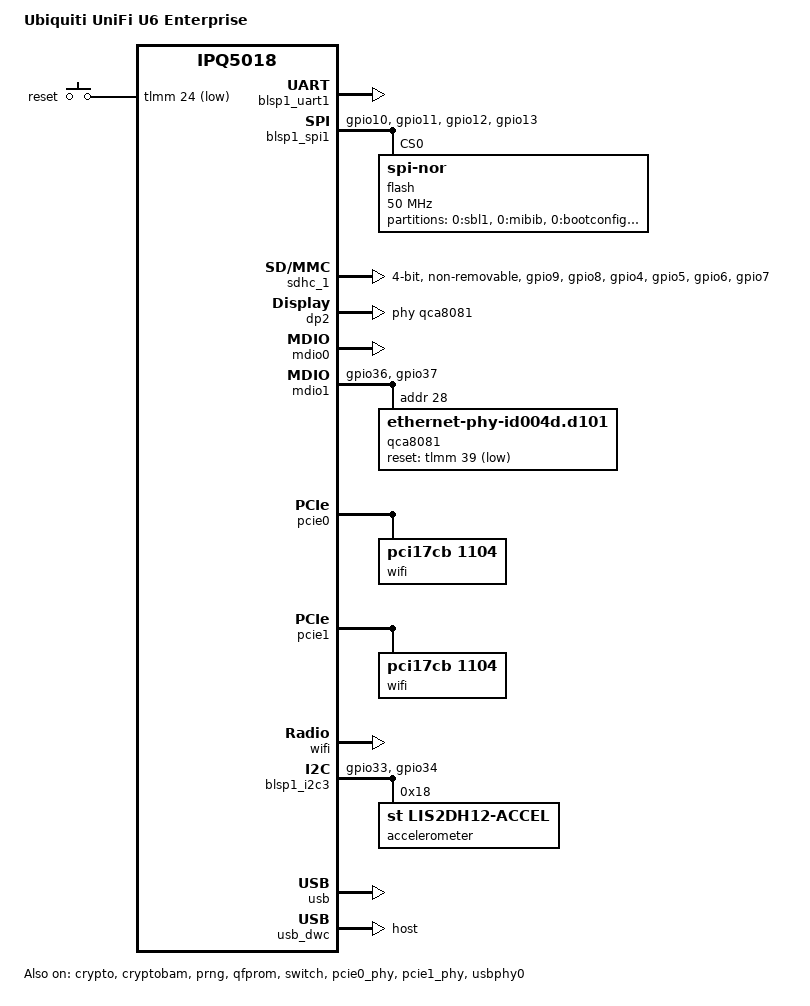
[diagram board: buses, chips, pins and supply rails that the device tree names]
// SPDX-License-Identifier: GPL-2.0-or-later OR MIT

/dts-v1/;

#include "ipq5018.dtsi"
#include "ipq5018-ess.dtsi"
#include "ipq5018-nss.dtsi"

#include <dt-bindings/gpio/gpio.h>
#include <dt-bindings/input/input.h>

/ {
	model = "Ubiquiti UniFi U6 Enterprise";
	compatible = "ubnt,u6-enterprise", "qcom,ipq5018";

	aliases {
		ethernet0 = &dp2;
		label-mac-device = &dp2;
		serial0 = &blsp1_uart1;
	};

	chosen {
		stdout-path = "serial0:115200n8";
	};

	keys {
		compatible = "gpio-keys";
		pinctrl-0 = <&button_pins>;
		pinctrl-names = "default";

		reset-button {
			label = "reset";
			gpios = <&tlmm 24 GPIO_ACTIVE_LOW>;
			linux,code = <KEY_RESTART>;
		};
	};
};

/* The stock QSEE uses 4 MiB here, twice the SoC default. */
&tz_region {
	reg = <0x0 0x4ac00000 0x0 0x400000>;
};

&sleep_clk {
	clock-frequency = <32000>;
};

&xo_board_clk {
	clock-div = <4>;
	clock-mult = <1>;
};

/* The bootloader muxes the console pins; GPIO33/34 are I2C on this board. */
&blsp1_uart1 {
	status = "okay";
};

&crypto {
	status = "okay";
};

&cryptobam {
	status = "okay";
};

&prng {
	status = "okay";
};

&qfprom {
	status = "okay";
};

&blsp1_spi1 {
	pinctrl-0 = <&spi_0_pins>;
	pinctrl-names = "default";
	status = "okay";

	flash@0 {
		compatible = "jedec,spi-nor";
		reg = <0>;
		spi-max-frequency = <50000000>;

		/* Read-only until the install flow is proven: this chip holds the boot chain. */
		partitions {
			compatible = "fixed-partitions";
			#address-cells = <1>;
			#size-cells = <1>;

			partition@0 {
				label = "0:sbl1";
				reg = <0x000000 0x030000>;
				read-only;
			};

			partition@30000 {
				label = "0:mibib";
				reg = <0x030000 0x010000>;
				read-only;
			};

			partition@40000 {
				label = "0:bootconfig";
				reg = <0x040000 0x010000>;
				read-only;
			};

			partition@50000 {
				label = "0:qsee";
				reg = <0x050000 0x0a0000>;
				read-only;
			};

			partition@f0000 {
				label = "0:devcfg";
				reg = <0x0f0000 0x010000>;
				read-only;
			};

			partition@100000 {
				label = "0:cdt";
				reg = <0x100000 0x010000>;
				read-only;
			};

			partition@110000 {
				label = "0:appsblenv";
				reg = <0x110000 0x010000>;
				read-only;
			};

			partition@120000 {
				label = "0:appsbl";
				reg = <0x120000 0x0a0000>;
				read-only;
			};

			partition@1c0000 {
				label = "0:art";
				reg = <0x1c0000 0x070000>;
				read-only;
			};

			partition@230000 {
				label = "eeprom";
				reg = <0x230000 0x010000>;
				read-only;

				nvmem-layout {
					compatible = "fixed-layout";
					#address-cells = <1>;
					#size-cells = <1>;

					macaddr_eeprom_0: macaddr@0 {
						reg = <0x0 0x6>;
					};
				};
			};
		};
	};
};

&sdhc_1 {
	pinctrl-0 = <&emmc_pins>;
	pinctrl-names = "default";
	bus-width = <4>;
	non-removable;
	no-sd;
	no-sdio;
	status = "okay";
};

/*
 * =================================================================
 *     _______________________
 *    |        IPQ5018        |
 *    | +------+   +--------+ |
 *    | | MAC0 |---| GE Phy |-+--- (unused)
 *    | +------+   +--------+ |
 *    | +------+   +--------+ |                 +---------+
 *    | | MAC1 |---| Uniphy |-+----- SGMII ------| QCA8081 |--- 2.5G PoE uplink
 *    | +------+   +--------+ |                 +---------+
 *    |_______________________|
 *
 * =================================================================
 */
&switch {
	status = "okay";
	switch_mac_mode = <MAC_MODE_SGMII_CHANNEL0>;

	qcom,port_phyinfo {
		port@1 {
			port_id = <1>;
			mdiobus = <&mdio0>;
			phy_address = <7>;
		};

		port@2 {
			port_id = <2>;
			mdiobus = <&mdio1>;
			phy_address = <28>;
			port_mac_sel = "QGMAC_PORT";
		};
	};
};

&dp2 {
	status = "okay";
	label = "lan";
	phy-handle = <&qca8081>;
	nvmem-cells = <&macaddr_eeprom_0>;
	nvmem-cell-names = "mac-address";
};

&mdio0 {
	status = "okay";
};

&mdio1 {
	status = "okay";
	pinctrl-0 = <&mdio1_pins>;
	pinctrl-names = "default";

	qca8081: ethernet-phy@28 {
		compatible = "ethernet-phy-id004d.d101";
		reg = <28>;
		reset-deassert-us = <10000>;
		reset-gpios = <&tlmm 39 GPIO_ACTIVE_LOW>;
	};
};

&pcie0_phy {
	status = "okay";
};

/* QCN9074 on the x2 controller */
&pcie0 {
	status = "okay";
	perst-gpios = <&tlmm 15 GPIO_ACTIVE_LOW>;

	pcie@0 {
		wifi@0,0 {
			status = "okay";
			/* QCN9074: ath11k lacks DT compatible for PCI cards */
			compatible = "pci17cb,1104";
			reg = <0x00010000 0 0 0 0>;
			qcom,ath11k-calibration-variant = "Ubiquiti-U6-Enterprise-5G";
			qcom,ath11k-fw-memory-mode = <1>;
			/* read only by the NSS Wi-Fi offload */
			nss-radio-priority = <1>;
		};
	};
};

&pcie1_phy {
	status = "okay";
};

/* QCN9074 on the x1 controller */
&pcie1 {
	status = "okay";
	perst-gpios = <&tlmm 18 GPIO_ACTIVE_LOW>;

	pcie@0 {
		wifi@0,0 {
			status = "okay";
			compatible = "pci17cb,1104";
			reg = <0x00010000 0 0 0 0>;
			qcom,ath11k-calibration-variant = "Ubiquiti-U6-Enterprise-6G";
			qcom,ath11k-fw-memory-mode = <1>;
			/* read only by the NSS Wi-Fi offload */
			nss-radio-priority = <1>;
		};
	};
};

/*
 * As on the vendor firmware, the internal radio runs in its own user
 * protection domain, started after the root PD (multi-PD remoteproc).
 */
&q6_region {
	reg = <0x0 0x4b000000 0x0 0x3000000>;
};

&q6v5_wcss {
	compatible = "qcom,ipq5018-q6-mpd";
	firmware-name = "ath11k/IPQ5018/hw1.0/q6_fw.mdt",
			"ath11k/IPQ5018/hw1.0/m3_fw.mdt";

	q6_wcss_pd1: pd-1 {
		firmware-name = "ath11k/IPQ5018/hw1.0/q6_fw.mdt";

		interrupts-extended = <&wcss_smp2p_in 8 IRQ_TYPE_NONE>,
				      <&wcss_smp2p_in 9 IRQ_TYPE_NONE>,
				      <&wcss_smp2p_in 12 IRQ_TYPE_NONE>,
				      <&wcss_smp2p_in 11 IRQ_TYPE_NONE>;
		interrupt-names = "fatal",
				  "ready",
				  "spawn-ack",
				  "stop-ack";

		qcom,smem-states = <&wcss_smp2p_out 8>,
				   <&wcss_smp2p_out 9>,
				   <&wcss_smp2p_out 10>;
		qcom,smem-state-names = "shutdown",
					"stop",
					"spawn";
	};
};

&wifi {
	status = "okay";
	qcom,rproc = <&q6_wcss_pd1>;
	qcom,userpd-subsys-name = "q6v5_wcss_userpd1";
	/* past the multi-PD image, whose segments cover the default 0x4ba00000 */
	qcom,bdf-addr = <0x4c400000>;
	qcom,ath11k-calibration-variant = "Ubiquiti-U6-Enterprise";
	qcom,ath11k-fw-memory-mode = <1>;
};

&tlmm {
	button_pins: button-state {
		pins = "gpio24";
		function = "gpio";
		drive-strength = <8>;
		bias-pull-up;
	};

	emmc_pins: emmc-state {
		clk-pins {
			pins = "gpio9";
			function = "sdc1_clk";
			drive-strength = <8>;
			bias-disable;
		};

		cmd-pins {
			pins = "gpio8";
			function = "sdc1_cmd";
			drive-strength = <8>;
			bias-pull-up;
		};

		data-pins {
			pins = "gpio4", "gpio5", "gpio6", "gpio7";
			function = "sdc1_data";
			drive-strength = <8>;
			bias-disable;
		};
	};

	mdio1_pins: mdio-state {
		mdc-pins {
			pins = "gpio36";
			function = "mdc";
			drive-strength = <8>;
			bias-pull-up;
		};

		mdio-pins {
			pins = "gpio37";
			function = "mdio";
			drive-strength = <8>;
			bias-pull-up;
		};
	};

	spi_0_pins: spi-0-state {
		pins = "gpio10", "gpio11", "gpio12", "gpio13";
		function = "blsp0_spi";
		drive-strength = <8>;
		bias-disable;
	};

	i2c_pins: i2c-state {
		pins = "gpio33", "gpio34";
		function = "blsp2_i2c0";
		drive-strength = <8>;
		bias-disable;
	};
};

&blsp1_i2c3 {
	pinctrl-0 = <&i2c_pins>;
	pinctrl-names = "default";
	status = "okay";

	accelerometer@18 {
		compatible = "st,lis2dh12-accel";
		reg = <0x18>;
	};
};

&usbphy0 {
	status = "okay";
};

&usb {
	status = "okay";
};

&usb_dwc {
	dr_mode = "host";
};
